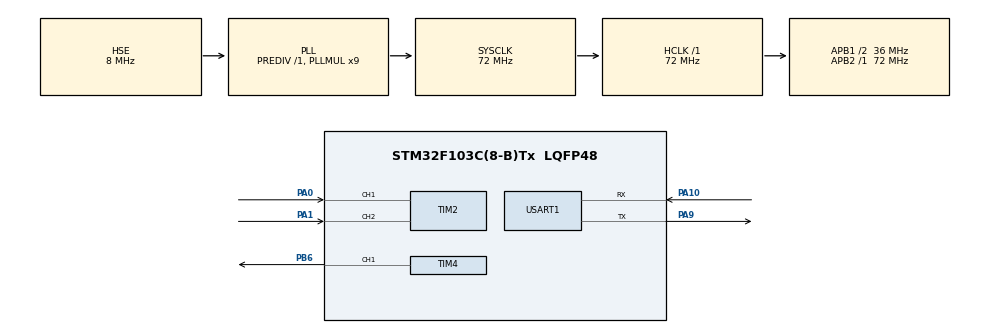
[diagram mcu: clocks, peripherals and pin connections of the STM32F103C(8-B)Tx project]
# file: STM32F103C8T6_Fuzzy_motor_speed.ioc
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Dma.Request0=USART1_RX
Dma.USART1_RX.0.Direction=DMA_PERIPH_TO_MEMORY
Dma.USART1_RX.0.Instance=DMA1_Channel5
Dma.USART1_RX.0.MemDataAlignment=DMA_MDATAALIGN_BYTE
Dma.USART1_RX.0.MemInc=DMA_MINC_ENABLE
Dma.USART1_RX.0.Mode=DMA_NORMAL
Dma.USART1_RX.0.PeriphDataAlignment=DMA_PDATAALIGN_BYTE
Dma.USART1_RX.0.PeriphInc=DMA_PINC_DISABLE
Dma.USART1_RX.0.Priority=DMA_PRIORITY_LOW
Mcu.Family=STM32F1
Mcu.Name=STM32F103C(8-B)Tx
Mcu.Package=LQFP48
NVIC.DMA1_Channel5_IRQn=true\:0\:0\:false\:false\:true\:false\:true\:true
NVIC.PriorityGroup=NVIC_PRIORITYGROUP_4
NVIC.TIM1_UP_IRQn=true\:0\:0\:false\:false\:true\:true\:true\:true
NVIC.USART1_IRQn=true\:0\:0\:false\:false\:true\:true\:true\:true
PA0-WKUP.Signal=S_TIM2_CH1_ETR
PA1.Signal=S_TIM2_CH2
PA10.Mode=Asynchronous
PA10.Signal=USART1_RX
PA9.Mode=Asynchronous
PA9.Signal=USART1_TX
PB6.Signal=S_TIM4_CH1
PD0-OSC_IN.Mode=HSE-External-Oscillator
PD0-OSC_IN.Signal=RCC_OSC_IN
PD1-OSC_OUT.Mode=HSE-External-Oscillator
PD1-OSC_OUT.Signal=RCC_OSC_OUT
ProjectManager.HeapSize=0x200
ProjectManager.StackSize=0x400
ProjectManager.TargetToolchain=Makefile
RCC.AHBFreq_Value=72000000
RCC.APB1CLKDivider=RCC_HCLK_DIV2
RCC.APB1Freq_Value=36000000
RCC.APB1TimFreq_Value=72000000
RCC.APB2Freq_Value=72000000
RCC.APB2TimFreq_Value=72000000
RCC.HCLKFreq_Value=72000000
RCC.PLLMUL=RCC_PLL_MUL9
RCC.PLLSourceVirtual=RCC_PLLSOURCE_HSE
RCC.SYSCLKFreq_VALUE=72000000
RCC.SYSCLKSource=RCC_SYSCLKSOURCE_PLLCLK
RCC.USBFreq_Value=72000000
SH.S_TIM2_CH1_ETR.0=TIM2_CH1,Encoder_Interface
SH.S_TIM2_CH2.0=TIM2_CH2,Encoder_Interface
SH.S_TIM4_CH1.0=TIM4_CH1,PWM Generation1 CH1
TIM1.AutoReloadPreload=TIM_AUTORELOAD_PRELOAD_ENABLE
TIM1.Period=2000
TIM1.Prescaler=720
TIM2.AutoReloadPreload=TIM_AUTORELOAD_PRELOAD_ENABLE
TIM2.EncoderMode=TIM_ENCODERMODE_TI12
TIM2.IC1Filter=10
TIM2.IC2Filter=10
TIM4.AutoReloadPreload=TIM_AUTORELOAD_PRELOAD_ENABLE
TIM4.Channel-PWM\ Generation1\ CH1=TIM_CHANNEL_1
TIM4.Period=499
TIM4.Prescaler=71
USART1.VirtualMode=VM_ASYNC
VP_SYS_VS_ND.Mode=No_Debug
VP_TIM1_VS_ClockSourceINT.Mode=Internal
VP_TIM4_VS_ClockSourceINT.Mode=Internal
board=custom

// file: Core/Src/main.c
/* USER CODE BEGIN Header */
/**
  ******************************************************************************
  * @file           : main.c
  * @brief          : Main program body
  ******************************************************************************
  * @attention
  *
  * Copyright (c) 2023 STMicroelectronics.
  * All rights reserved.
  *
  * This software is licensed under terms that can be found in the LICENSE file
  * in the root directory of this software component.
  * If no LICENSE file comes with this software, it is provided AS-IS.
  *
  ******************************************************************************
  */
/* USER CODE END Header */
#include "main.h"

/* USER CODE BEGIN Includes */
#include <string.h>
#include <stdlib.h>
#include <stdio.h>

#include "../../ECUAL/Fuzzy_motor/Fuzzy_motor.h"
#include "../../ECUAL/Fuzzy_motor/Fuzzy_motor_cfg.h"
#include "../../ECUAL/Fuzzy_motor/motor_commands.h"
#include "../../ECUAL/UART/STM32_UART.h"
/* USER CODE END Includes */

/* USER CODE BEGIN PD */
#define BUFFER_SIZE 20
/* USER CODE END PD */

TIM_HandleTypeDef htim1;
TIM_HandleTypeDef htim2;
TIM_HandleTypeDef htim4;

UART_HandleTypeDef huart1;
DMA_HandleTypeDef hdma_usart1_rx;

void SystemClock_Config(void);
static void MX_GPIO_Init(void);
static void MX_DMA_Init(void);
static void MX_TIM1_Init(void);
static void MX_TIM2_Init(void);
static void MX_TIM4_Init(void);
static void MX_USART1_UART_Init(void);
/* USER CODE BEGIN PFP */
static void commandHandling(uint8_t* rcv_buffer, uint16_t msg_size);
/* USER CODE END PFP */

/* USER CODE BEGIN 0 */
uint8_t rcv_buffer[BUFFER_SIZE];
uint8_t tx_buffer[BUFFER_SIZE];
int wheel_velocities[2];
int rpm_test[8] = {120, 150, 80, 100, 60, 140, 50, 10};
uint8_t speed_test = 0;
uint8_t controller = 0;
uint8_t count = 0;

// Function to handle timer interrupt handler
void HAL_TIM_PeriodElapsedCallback(TIM_HandleTypeDef* htim)
{
  if(htim->Instance == TIM1)
  {
    // Change the speed of the motor each 2s
    if(! controller)
    {
      if(speed_test == 8)
        HAL_TIM_Base_Stop_IT(&htim1);
      inputSpeedHandling(&motor1, rpm_test[speed_test]);
      ++speed_test;
      controller = 1 - controller;
    }

    fuzzySpeedControl(&motor1, &fuzzy_inputs, &fuzzy_outputs, &fuzzy_rules);
    if(count < 200)
    {
      sprintf((char*)tx_buffer, "%d\r\n", motor1.real_speed);
      STM32_UART_sendString(&huart1, tx_buffer);
      count++;
    }
    else if(count == 200)
    {
      controller = 0;
      count = 0;
    }
  }
}

// Function to handle UART reception interrupt
void HAL_UARTEx_RxEventCallback(UART_HandleTypeDef* huart, uint16_t msg_size)
{
  // Check if the interrurpt source is due to usart 1 module
  if(huart->Instance == USART1)
  {
    // Extract the command data
    commandHandling(rcv_buffer, msg_size);

    // Clear the bufer
    memset(rcv_buffer, 0, BUFFER_SIZE);

    // Restart the UART DMA IDLE line reception
    STM32_UART_IDLE_Start(huart, &hdma_usart1_rx, rcv_buffer, BUFFER_SIZE);
  }
}
/* USER CODE END 0 */

int main(void)
{

  /* MCU Configuration--------------------------------------------------------*/

  /* Reset of all peripherals, Initializes the Flash interface and the Systick. */
  HAL_Init();

  /* Configure the system clock */
  SystemClock_Config();

  /* Initialize all configured peripherals */
  MX_GPIO_Init();
  MX_DMA_Init();
  MX_TIM1_Init();
  MX_TIM2_Init();
  MX_TIM4_Init();
  MX_USART1_UART_Init();
  /* USER CODE BEGIN 2 */

  // Initiate the encoder
  HAL_TIM_Encoder_Start(&htim2, TIM_CHANNEL_ALL);

  // Initiate the PWM
  HAL_TIM_PWM_Start(&htim4, TIM_CHANNEL_1);

  // Initiate the fuzzy controller
  fuzzySystemInit(&motor1);

  HAL_Delay(1000);

  // Initiate the UART
  // Initiate the UART IDLE line detection
  STM32_UART_IDLE_Start(&huart1, &hdma_usart1_rx, rcv_buffer, BUFFER_SIZE);
  STM32_UART_sendString(&huart1, (uint8_t*)"Hello Vinh Gia\r\n");

  // Start the timer interrupt
  HAL_TIM_Base_Start_IT(&htim1);
  /* USER CODE END 2 */

  /* Infinite loop */
  while (1)
  {

  }
}

void SystemClock_Config(void)
{
  RCC_OscInitTypeDef RCC_OscInitStruct = {0};
  RCC_ClkInitTypeDef RCC_ClkInitStruct = {0};

  /** Initializes the RCC Oscillators according to the specified parameters
  * in the RCC_OscInitTypeDef structure.
  */
  RCC_OscInitStruct.OscillatorType = RCC_OSCILLATORTYPE_HSE;
  RCC_OscInitStruct.HSEState = RCC_HSE_ON;
  RCC_OscInitStruct.HSEPredivValue = RCC_HSE_PREDIV_DIV1;
  RCC_OscInitStruct.HSIState = RCC_HSI_ON;
  RCC_OscInitStruct.PLL.PLLState = RCC_PLL_ON;
  RCC_OscInitStruct.PLL.PLLSource = RCC_PLLSOURCE_HSE;
  RCC_OscInitStruct.PLL.PLLMUL = RCC_PLL_MUL9;
  if (HAL_RCC_OscConfig(&RCC_OscInitStruct) != HAL_OK)
  {
    Error_Handler();
  }

  /** Initializes the CPU, AHB and APB buses clocks
  */
  RCC_ClkInitStruct.ClockType = RCC_CLOCKTYPE_HCLK|RCC_CLOCKTYPE_SYSCLK
                              |RCC_CLOCKTYPE_PCLK1|RCC_CLOCKTYPE_PCLK2;
  RCC_ClkInitStruct.SYSCLKSource = RCC_SYSCLKSOURCE_PLLCLK;
  RCC_ClkInitStruct.AHBCLKDivider = RCC_SYSCLK_DIV1;
  RCC_ClkInitStruct.APB1CLKDivider = RCC_HCLK_DIV2;
  RCC_ClkInitStruct.APB2CLKDivider = RCC_HCLK_DIV1;

  if (HAL_RCC_ClockConfig(&RCC_ClkInitStruct, FLASH_LATENCY_2) != HAL_OK)
  {
    Error_Handler();
  }
}

static void MX_TIM1_Init(void)
{

  TIM_ClockConfigTypeDef sClockSourceConfig = {0};
  TIM_MasterConfigTypeDef sMasterConfig = {0};

  htim1.Instance = TIM1;
  htim1.Init.Prescaler = 720;
  htim1.Init.CounterMode = TIM_COUNTERMODE_UP;
  htim1.Init.Period = 2000;
  htim1.Init.ClockDivision = TIM_CLOCKDIVISION_DIV1;
  htim1.Init.RepetitionCounter = 0;
  htim1.Init.AutoReloadPreload = TIM_AUTORELOAD_PRELOAD_ENABLE;
  if (HAL_TIM_Base_Init(&htim1) != HAL_OK)
  {
    Error_Handler();
  }
  sClockSourceConfig.ClockSource = TIM_CLOCKSOURCE_INTERNAL;
  if (HAL_TIM_ConfigClockSource(&htim1, &sClockSourceConfig) != HAL_OK)
  {
    Error_Handler();
  }
  sMasterConfig.MasterOutputTrigger = TIM_TRGO_RESET;
  sMasterConfig.MasterSlaveMode = TIM_MASTERSLAVEMODE_DISABLE;
  if (HAL_TIMEx_MasterConfigSynchronization(&htim1, &sMasterConfig) != HAL_OK)
  {
    Error_Handler();
  }

}

static void MX_TIM2_Init(void)
{

  TIM_Encoder_InitTypeDef sConfig = {0};
  TIM_MasterConfigTypeDef sMasterConfig = {0};

  htim2.Instance = TIM2;
  htim2.Init.Prescaler = 0;
  htim2.Init.CounterMode = TIM_COUNTERMODE_UP;
  htim2.Init.Period = 65535;
  htim2.Init.ClockDivision = TIM_CLOCKDIVISION_DIV1;
  htim2.Init.AutoReloadPreload = TIM_AUTORELOAD_PRELOAD_ENABLE;
  sConfig.EncoderMode = TIM_ENCODERMODE_TI12;
  sConfig.IC1Polarity = TIM_ICPOLARITY_RISING;
  sConfig.IC1Selection = TIM_ICSELECTION_DIRECTTI;
  sConfig.IC1Prescaler = TIM_ICPSC_DIV1;
  sConfig.IC1Filter = 10;
  sConfig.IC2Polarity = TIM_ICPOLARITY_RISING;
  sConfig.IC2Selection = TIM_ICSELECTION_DIRECTTI;
  sConfig.IC2Prescaler = TIM_ICPSC_DIV1;
  sConfig.IC2Filter = 10;
  if (HAL_TIM_Encoder_Init(&htim2, &sConfig) != HAL_OK)
  {
    Error_Handler();
  }
  sMasterConfig.MasterOutputTrigger = TIM_TRGO_RESET;
  sMasterConfig.MasterSlaveMode = TIM_MASTERSLAVEMODE_DISABLE;
  if (HAL_TIMEx_MasterConfigSynchronization(&htim2, &sMasterConfig) != HAL_OK)
  {
    Error_Handler();
  }

}

static void MX_TIM4_Init(void)
{

  TIM_ClockConfigTypeDef sClockSourceConfig = {0};
  TIM_MasterConfigTypeDef sMasterConfig = {0};
  TIM_OC_InitTypeDef sConfigOC = {0};

  htim4.Instance = TIM4;
  htim4.Init.Prescaler = 71;
  htim4.Init.CounterMode = TIM_COUNTERMODE_UP;
  htim4.Init.Period = 499;
  htim4.Init.ClockDivision = TIM_CLOCKDIVISION_DIV1;
  htim4.Init.AutoReloadPreload = TIM_AUTORELOAD_PRELOAD_ENABLE;
  if (HAL_TIM_Base_Init(&htim4) != HAL_OK)
  {
    Error_Handler();
  }
  sClockSourceConfig.ClockSource = TIM_CLOCKSOURCE_INTERNAL;
  if (HAL_TIM_ConfigClockSource(&htim4, &sClockSourceConfig) != HAL_OK)
  {
    Error_Handler();
  }
  if (HAL_TIM_PWM_Init(&htim4) != HAL_OK)
  {
    Error_Handler();
  }
  sMasterConfig.MasterOutputTrigger = TIM_TRGO_RESET;
  sMasterConfig.MasterSlaveMode = TIM_MASTERSLAVEMODE_DISABLE;
  if (HAL_TIMEx_MasterConfigSynchronization(&htim4, &sMasterConfig) != HAL_OK)
  {
    Error_Handler();
  }
  sConfigOC.OCMode = TIM_OCMODE_PWM1;
  sConfigOC.Pulse = 0;
  sConfigOC.OCPolarity = TIM_OCPOLARITY_HIGH;
  sConfigOC.OCFastMode = TIM_OCFAST_DISABLE;
  if (HAL_TIM_PWM_ConfigChannel(&htim4, &sConfigOC, TIM_CHANNEL_1) != HAL_OK)
  {
    Error_Handler();
  }
  HAL_TIM_MspPostInit(&htim4);

}

static void MX_USART1_UART_Init(void)
{

  huart1.Instance = USART1;
  huart1.Init.BaudRate = 115200;
  huart1.Init.WordLength = UART_WORDLENGTH_8B;
  huart1.Init.StopBits = UART_STOPBITS_1;
  huart1.Init.Parity = UART_PARITY_NONE;
  huart1.Init.Mode = UART_MODE_TX_RX;
  huart1.Init.HwFlowCtl = UART_HWCONTROL_NONE;
  huart1.Init.OverSampling = UART_OVERSAMPLING_16;
  if (HAL_UART_Init(&huart1) != HAL_OK)
  {
    Error_Handler();
  }

}

static void MX_DMA_Init(void)
{

  /* DMA controller clock enable */
  __HAL_RCC_DMA1_CLK_ENABLE();

  /* DMA interrupt init */
  /* DMA1_Channel5_IRQn interrupt configuration */
  HAL_NVIC_SetPriority(DMA1_Channel5_IRQn, 0, 0);
  HAL_NVIC_EnableIRQ(DMA1_Channel5_IRQn);

}

static void MX_GPIO_Init(void)
{

  /* GPIO Ports Clock Enable */
  __HAL_RCC_GPIOD_CLK_ENABLE();
  __HAL_RCC_GPIOA_CLK_ENABLE();
  __HAL_RCC_GPIOB_CLK_ENABLE();

}

/* USER CODE BEGIN 4 */

static void commandHandling(uint8_t* rcv_buffer, uint16_t msg_size)
{
  uint8_t command = rcv_buffer[0];
  if(msg_size == 1)
  {
    switch(command)
    {
      case GET_BAUDRATE: ;
        uint32_t uart_baudrate = huart1.Init.BaudRate;
        sprintf((char*)tx_buffer,"Baudrate: %lu\r\n", uart_baudrate);
        STM32_UART_sendString(&huart1, tx_buffer);
        break;
      case PING:
        STM32_UART_sendString(&huart1, (uint8_t*)"STM32 active\r\n");
        break;
      default:
        STM32_UART_sendString(&huart1, (uint8_t*)"Command error!\r\n");
        break;
    }
  }
  else
  {
    // Case control the velocity of the motor
    if(command == VELOCITY_CONTROL)
    {
      controller = 1;
      // Get the actual velocity command
      uint8_t command_idx = 0;
      char* rest = NULL;
      char* token = strtok_r((char*)rcv_buffer, " ", &rest);
      while(token != NULL)
      {
        if(command_idx > 0)
          wheel_velocities[command_idx - 1] = atoi(token);
        // Constraint the index value
        if(++command_idx == 3)
          command_idx = 0;
        token = strtok_r(NULL, " ", &rest);
      }
      inputSpeedHandling(&motor1, wheel_velocities[0]);
    }
  }
}
/* USER CODE END 4 */

void Error_Handler(void)
{
  __disable_irq();
  while (1)
  {
  }
}
